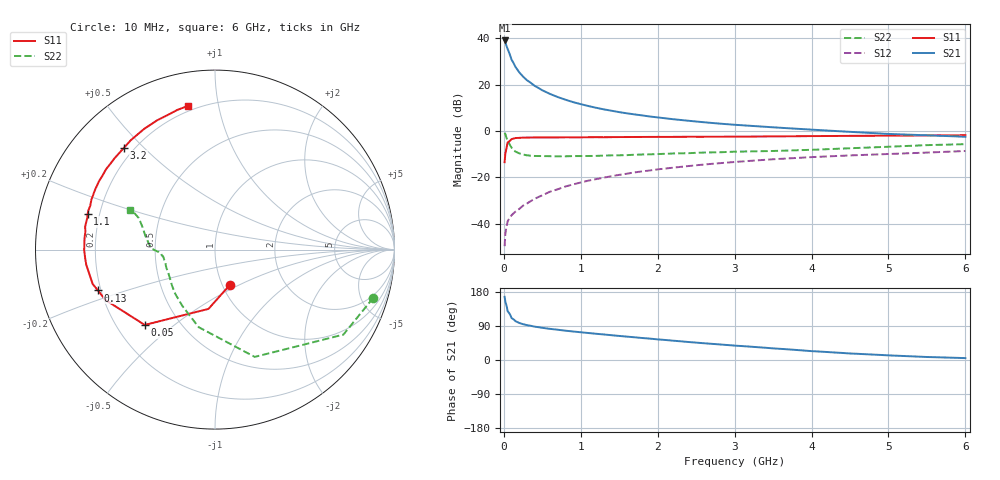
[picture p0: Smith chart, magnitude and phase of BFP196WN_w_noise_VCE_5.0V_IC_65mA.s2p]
! (c) 2017  Infineon Technologies AG, Munich
! Infineon Technologies  Discrete & RF Semiconductors
! BFP196WN
! VCE =  5.0 V,  IC =  65 mA
! Common Emitter S-Parameters:  Jan 2017
# GHz  S  MA  R  50
!  f  S11  S21  S12  S22
! GHz  MAG  ANG  MAG  ANG  MAG  ANG  MAG  ANG
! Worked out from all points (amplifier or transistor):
!   77 points, 10 MHz to 6 GHz, reference 50 ohm
!   highest |S21| = 39.1 dB at 10 MHz (marker M1)
!   |S21| within 3 dB of that: start of sweep to 41.4 MHz
!   unconditionally stable (mu >= 1): 587.7 MHz to 2.643 GHz
!   at 130 MHz: K = 0.61, MSG = 32.2 dB, |S12| = -35.3 dB
!   at 2.2 GHz: K = 1.02, MAG = 9.7 dB, |S12| = -15.8 dB
!   at 6 GHz: K = 0.91, MSG = 3.1 dB, |S12| = -8.6 dB
!   lowest NFmin = 1.43 dB at 450 MHz
!   S11 on the Smith chart (normalised r, x): 10 MHz: 1.09, -0.45; 50 MHz: 0.32, -0.40; 130 MHz: 0.19, -0.16; 1.1 GHz: 0.15, +0.13; 3.2 GHz: 0.16, +0.44; 6 GHz: 0.17, +0.82
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0.01  0.2129 -66.8  89.95 166.7  0.0033 78.4  0.9216 -17.0
0.02  0.3325 -96.3  81.26 153.7  0.0062 69.6  0.8579 -33.5
0.05  0.574 -133.0  58.52 128.5  0.0114 54.3  0.6373 -69.7
0.1  0.6711 -155.2  34.79 110.7  0.0153 50.3  0.4416 -101.9
0.13  0.6912 -160.8  28.45 106.6  0.0171 51.6  0.3889 -112.1
0.15  0.708 -164.3  24.35 102.6  0.0183 52.4  0.3621 -120.3
0.2  0.7144 -169.7  18.53 97.8  0.0209 56.0  0.3308 -132.2
0.25  0.722 -173.2  14.94 94.5  0.0247 58.8  0.313 -139.8
0.3  0.7248 -175.9  12.51 92.0  0.0274 61.4  0.3 -146.1
0.4  0.7289 -179.8  9.461 88.0  0.0346 65.3  0.2907 -153.6
0.5  0.7289 177.0  7.579 84.9  0.0413 67.3  0.2893 -158.9
0.6  0.7296 174.5  6.331 82.2  0.0493 68.4  0.2876 -162.8
0.7  0.7289 172.2  5.421 79.9  0.0556 69.7  0.2852 -165.4
0.9  0.7337 168.0  4.218 75.2  0.0708 69.7  0.2888 -168.8
1.1  0.7368 164.3  3.462 71.2  0.0855 69.8  0.2904 -171.7
1.5  0.7432 157.7  2.563 63.5  0.1138 67.7  0.3007 -175.4
2.1  0.75 148.1  1.886 52.8  0.1559 63.6  0.3241 -178.4
3.1  0.7591 133.2  1.334 36.7  0.2216 55.2  0.3621 177.0
3.2  0.7609 131.8  1.301 35.3  0.2278 54.3  0.3646 176.3
4.1  0.7811 119.1  1.051 22.3  0.2792 46.6  0.4008 167.5
5.1  0.797 108.4  0.856 11.4  0.3251 38.9  0.4671 157.1
6  0.8153 100.5  0.754 5.0  0.3718 32.8  0.5228 154.8
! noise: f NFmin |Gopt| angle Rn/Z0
0.45  1.43  0.56  -176  0.05
0.9  1.55  0.58  -169  0.06
1.9  2.48  0.69  -147  0.18
2.4  3.26  0.7  -139  0.31
